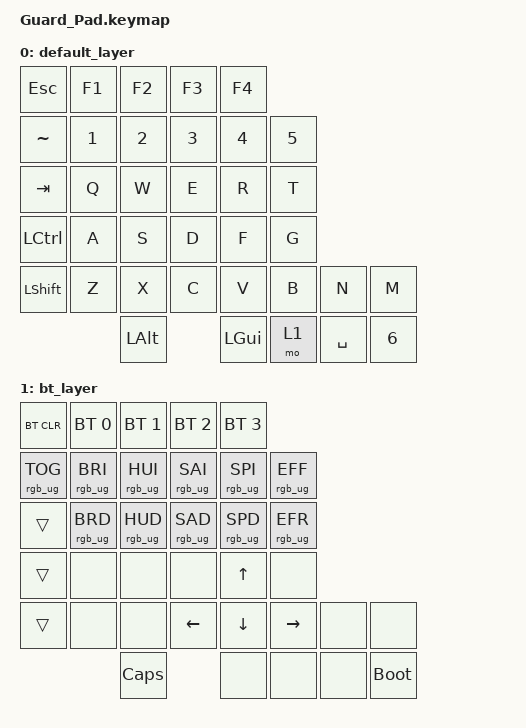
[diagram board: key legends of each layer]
#include <behaviors.dtsi>
#include <dt-bindings/zmk/keys.h>
#include <dt-bindings/zmk/bt.h>
#include <dt-bindings/zmk/rgb.h>
/ {
    keymap {
        compatible = "zmk,keymap";

        default_layer { 
            // Layer 0
        //   esc  F1 F2 F3 F4
        //    ~  1  2  3  4  5
        //   tab q  w  e  r  t
        //   lctr a  s  d  f  g
        //  lsft z  x  c  v  b
        //          lalt win lyr    n m 
        //                       spc 6
            bindings = <
                &kp ESC    &kp F1   &kp F2   &kp F3   &kp F4
                &kp TILDE &kp N1  &kp N2  &kp N3  &kp N4  &kp N5
                &kp TAB   &kp Q   &kp W   &kp E   &kp R   &kp T
                &kp LCTRL &kp A   &kp S   &kp D   &kp F   &kp G
                &kp LSHFT &kp Z   &kp X   &kp C   &kp V   &kp B   &kp N &kp M
                                     &kp LALT  &kp LGUI  &mo 1    &kp SPACE &kp N6
            >;
        };
         bt_layer { 
            // Layer 1
        //   bt clear  bt0 bt1 bt2 bt3
        //   rgb rgb rgb rgb rgb rgb 
        //   trans  rgb rgb rgb rgb rgb
        //   trans none none none up none
        //   trans none none left down right 
        //          CAPS none none   none none
        //                          none boot
            bindings = <
                &bt BT_CLR  &bt BT_SEL 0  &bt BT_SEL 1 &bt BT_SEL 2 &bt BT_SEL 3
                &rgb_ug RGB_TOG   &rgb_ug RGB_BRI   &rgb_ug RGB_HUI   &rgb_ug RGB_SAI   &rgb_ug RGB_SPI    &rgb_ug RGB_EFF 
                &trans            &rgb_ug RGB_BRD   &rgb_ug RGB_HUD   &rgb_ug RGB_SAD   &rgb_ug RGB_SPD    &rgb_ug RGB_EFR 
                &trans  &none  &none  &none  &kp UP   &none
                &trans &none  &none  &kp LEFT  &kp DOWN  &kp RIGHT    &none  &none
                                 &kp CAPS  &none  &none                 &none  &bootloader 
            >;
        };
    };
 };
